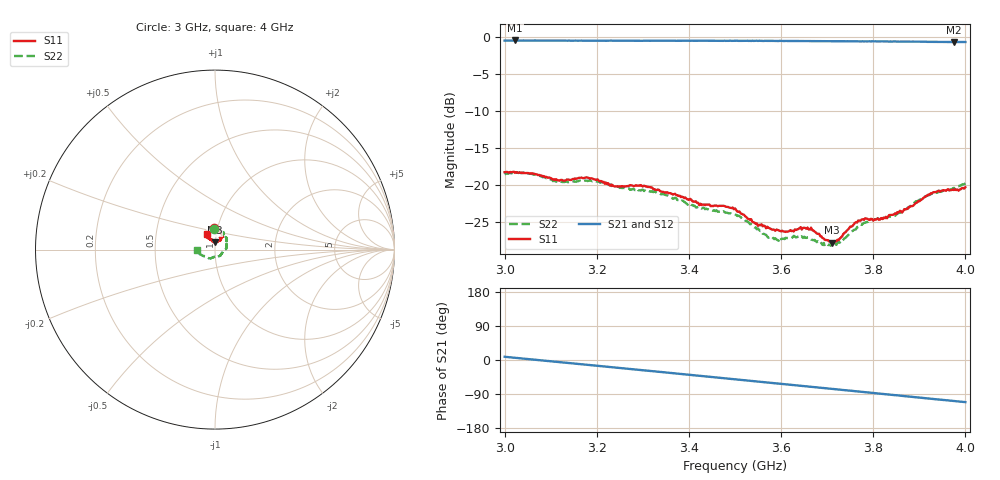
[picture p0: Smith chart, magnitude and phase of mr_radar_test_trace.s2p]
!Agilent Technologies,E8358A,US40260201,A.04.06
!Agilent E8358A: A.04.06
!Date: Saturday, February 25, 2012 14:04:05
!Correction: S11(Full 2 Port SOLT,1,2) S21(Full 2 Port SOLT,1,2) S12(Full 2 Port SOLT,1,2) S22(Full 2 Port SOLT,1,2)
!S2P File: Measurements: S11, S21, S12, S22:
# Hz S  MA  R 50
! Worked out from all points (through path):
!   401 points, 3 GHz to 4 GHz, reference 50 ohm
!   highest |S21| = -0.52 dB at 3.022 GHz (marker M1); lowest = -0.7 dB at 3.975 GHz (marker M2)
!   group delay of S21, straight-line fit = 333 ps
!   lowest |S11| = -27.8 dB at 3.71 GHz (marker M3), VSWR 1.08, Z = 49.6 + j4.04 ohm
!   |S11| at or under -10 dB: start of sweep to end of sweep
!   |S22| runs from -28.3 to -18.3 dB; largest |S21 - S12| = 0.0092
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3e9  0.1216 91.9  0.9396 8.6  0.9376 8.4  0.1176 92.0
3.0225e9  0.1202 88.4  0.9418 5.8  0.9371 5.7  0.121 89.8
3.0625e9  0.1188 85.5  0.9398 1.1  0.937 1.1  0.117 86.1
3.115e9  0.1071 80.9  0.9399 -5.2  0.9365 -5.1  0.1053 76.7
3.1675e9  0.1117 77.3  0.9399 -11.3  0.9359 -11.2  0.1061 67.6
3.24e9  0.0975 70.0  0.9386 -19.9  0.9364 -19.9  0.09711 59.0
3.3e9  0.09752 66.8  0.9366 -27.0  0.9352 -27.0  0.09259 47.1
3.335e9  0.09243 65.4  0.9375 -31.1  0.934 -31.2  0.08781 41.7
3.4275e9  0.07302 65.0  0.9377 -42.2  0.9327 -42.3  0.06913 21.0
3.5e9  0.0692 60.5  0.9363 -50.8  0.9334 -50.8  0.063 5.1
3.545e9  0.05441 64.5  0.9366 -56.3  0.9319 -56.2  0.05164 -5.1
3.59e9  0.0498 71.2  0.9342 -61.8  0.9319 -61.7  0.0428 -29.1
3.64e9  0.05087 79.9  0.9332 -67.7  0.9291 -67.8  0.04513 -50.4
3.6675e9  0.04943 82.5  0.9339 -71.0  0.927 -71.0  0.04255 -58.5
3.71e9  0.04076 93.9  0.9317 -76.1  0.9281 -76.2  0.04044 -84.0
3.725e9  0.04232 101.3  0.9303 -77.9  0.9269 -78.0  0.041 -94.5
3.7725e9  0.05725 108.8  0.9279 -83.6  0.9247 -83.7  0.05398 -115.1
3.835e9  0.06254 115.1  0.9254 -91.2  0.9224 -91.3  0.06093 -134.2
3.8675e9  0.06851 117.6  0.9256 -95.2  0.9205 -95.2  0.068 -146.1
3.9275e9  0.08765 122.1  0.9225 -102.5  0.9171 -102.4  0.08692 -162.6
3.975e9  0.09214 116.6  0.9184 -108.2  0.9137 -108.0  0.09534 -171.4
4e9  0.09631 117.9  0.9191 -111.2  0.914 -111.2  0.1023 -177.7
